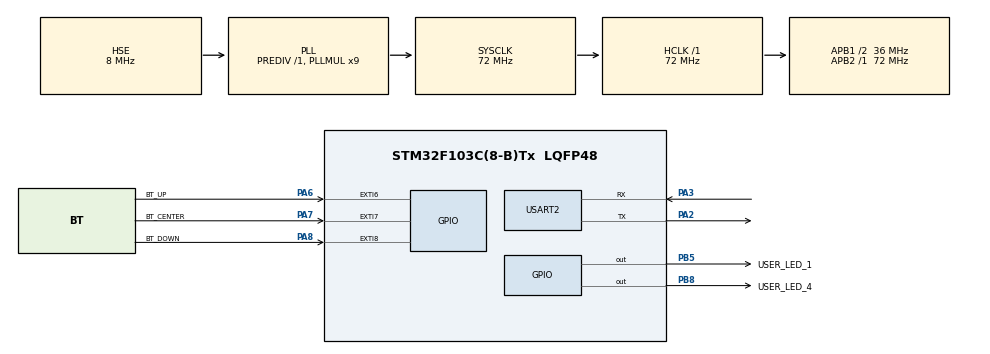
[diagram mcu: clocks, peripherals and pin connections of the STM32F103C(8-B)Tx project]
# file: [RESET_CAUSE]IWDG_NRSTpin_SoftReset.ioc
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Dma.Request0=USART2_RX
Dma.Request1=USART2_TX
Dma.USART2_RX.0.Direction=DMA_PERIPH_TO_MEMORY
Dma.USART2_RX.0.Instance=DMA1_Channel6
Dma.USART2_RX.0.MemDataAlignment=DMA_MDATAALIGN_BYTE
Dma.USART2_RX.0.MemInc=DMA_MINC_ENABLE
Dma.USART2_RX.0.Mode=DMA_CIRCULAR
Dma.USART2_RX.0.PeriphDataAlignment=DMA_PDATAALIGN_BYTE
Dma.USART2_RX.0.PeriphInc=DMA_PINC_DISABLE
Dma.USART2_RX.0.Priority=DMA_PRIORITY_VERY_HIGH
Dma.USART2_TX.1.Direction=DMA_MEMORY_TO_PERIPH
Dma.USART2_TX.1.Instance=DMA1_Channel7
Dma.USART2_TX.1.MemDataAlignment=DMA_MDATAALIGN_BYTE
Dma.USART2_TX.1.MemInc=DMA_MINC_ENABLE
Dma.USART2_TX.1.Mode=DMA_NORMAL
Dma.USART2_TX.1.PeriphDataAlignment=DMA_PDATAALIGN_BYTE
Dma.USART2_TX.1.PeriphInc=DMA_PINC_DISABLE
Dma.USART2_TX.1.Priority=DMA_PRIORITY_VERY_HIGH
Mcu.Family=STM32F1
Mcu.Name=STM32F103C(8-B)Tx
Mcu.Package=LQFP48
NVIC.DMA1_Channel6_IRQn=true\:1\:0\:true\:false\:true\:false\:true
NVIC.DMA1_Channel7_IRQn=true\:1\:0\:true\:false\:true\:false\:true
NVIC.EXTI9_5_IRQn=true\:2\:0\:true\:false\:true\:true\:true
NVIC.PriorityGroup=NVIC_PRIORITYGROUP_4
NVIC.RCC_IRQn=true\:0\:0\:false\:false\:true\:true\:false
NVIC.TIM4_IRQn=true\:0\:0\:false\:false\:true\:false\:true
NVIC.TimeBase=TIM4_IRQn
NVIC.TimeBaseIP=TIM4
NVIC.USART2_IRQn=true\:0\:0\:false\:false\:true\:true\:true
PA13.Mode=Serial_Wire
PA13.Signal=SYS_JTMS-SWDIO
PA14.Mode=Serial_Wire
PA14.Signal=SYS_JTCK-SWCLK
PA2.Mode=Asynchronous
PA2.Signal=USART2_TX
PA3.Mode=Asynchronous
PA3.Signal=USART2_RX
PA6.GPIO_Label=BT_UP
PA6.GPIO_ModeDefaultEXTI=GPIO_MODE_IT_FALLING
PA6.GPIO_PuPd=GPIO_PULLUP
PA6.Signal=GPXTI6
PA7.GPIO_Label=BT_CENTER
PA7.GPIO_ModeDefaultEXTI=GPIO_MODE_IT_FALLING
PA7.GPIO_PuPd=GPIO_PULLUP
PA7.Signal=GPXTI7
PA8.GPIO_Label=BT_DOWN
PA8.GPIO_ModeDefaultEXTI=GPIO_MODE_IT_FALLING
PA8.GPIO_PuPd=GPIO_PULLUP
PA8.Signal=GPXTI8
PB5.GPIO_Label=USER_LED_1
PB5.Signal=GPIO_Output
PB8.GPIO_Label=USER_LED_4
PB8.Signal=GPIO_Output
PD0-OSC_IN.Mode=HSE-External-Oscillator
PD0-OSC_IN.Signal=RCC_OSC_IN
PD1-OSC_OUT.Mode=HSE-External-Oscillator
PD1-OSC_OUT.Signal=RCC_OSC_OUT
ProjectManager.HeapSize=0x200
ProjectManager.StackSize=0x400
ProjectManager.TargetToolchain=STM32CubeIDE
RCC.AHBFreq_Value=72000000
RCC.APB1CLKDivider=RCC_HCLK_DIV2
RCC.APB1Freq_Value=36000000
RCC.APB1TimFreq_Value=72000000
RCC.APB2Freq_Value=72000000
RCC.APB2TimFreq_Value=72000000
RCC.HCLKFreq_Value=72000000
RCC.PLLMUL=RCC_PLL_MUL9
RCC.PLLSourceVirtual=RCC_PLLSOURCE_HSE
RCC.SYSCLKFreq_VALUE=72000000
RCC.SYSCLKSource=RCC_SYSCLKSOURCE_PLLCLK
RCC.USBFreq_Value=72000000
USART2.VirtualMode=VM_ASYNC
VP_CRC_VS_CRC.Mode=CRC_Activate
VP_IWDG_VS_IWDG.Mode=IWDG_Activate
VP_SYS_VS_tim4.Mode=TIM4
board=custom

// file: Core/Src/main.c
/* USER CODE BEGIN Header */
/**
 ******************************************************************************
 * @file           : main.c
 * @brief          : Main program body
 ******************************************************************************
 * @attention
 *
 * <h2><center>&copy; Copyright (c) 2020 STMicroelectronics.
 * All rights reserved.</center></h2>
 *
 * This software component is licensed by ST under BSD 3-Clause license,
 * the "License"; You may not use this file except in compliance with the
 * License. You may obtain a copy of the License at:
 *                        opensource.org/licenses/BSD-3-Clause
 *
 ******************************************************************************
 */
/* USER CODE END Header */
#include "main.h"
#include "crc.h"
#include "dma.h"
#include "iwdg.h"
#include "usart.h"
#include "gpio.h"

/* USER CODE BEGIN Includes */
#include "myDebug.h"
#include "myF103.h"
#include "myMisc.h"
#include "retarget.h"
/* USER CODE END Includes */

/* USER CODE BEGIN PM */
#define IWDG_TIMEOUT (3000u)
#define IWDG_REFRESH_TIME (2500u)
/* USER CODE END PM */

/* USER CODE BEGIN PV */
extern IWDG_HandleTypeDef hiwdg;
uint32_t prev_tick;
uint32_t temp_tick;
/* USER CODE END PV */

void SystemClock_Config(void);
/* USER CODE BEGIN PFP */
void HAL_GPIO_EXTI_Callback(uint16_t GPIO_Pin);
/* USER CODE END PFP */

int main(void)
{

  /* MCU Configuration--------------------------------------------------------*/

  /* Reset of all peripherals, Initializes the Flash interface and the Systick. */
  HAL_Init();

  /* Configure the system clock */
  SystemClock_Config();

  /* USER CODE BEGIN SysInit */
  MX_GPIO_Init();
  MX_DMA_Init();
  MX_USART2_UART_Init();

  /* Reset cause debug */
  RetargetInit(&DEBUG_USART);
  printf(resetCauseGetName(resetCauseGet()));
  newline;

  /* USER CODE END SysInit */

  /* Initialize all configured peripherals */
  MX_CRC_Init();

  /* USER CODE BEGIN 2 */
  /* Timeout = 5000ms */
  vIWDG_Init(IWDG_TIMEOUT);
  /* USER CODE END 2 */

  /* Infinite loop */
  /* USER CODE BEGIN WHILE */
  prev_tick = HAL_GetTick();
  while (1)
  {
    toggleAllLed;
    PRINT_VAR(HAL_GetTick());
    temp_tick = HAL_GetTick() - prev_tick;
    if(temp_tick > IWDG_REFRESH_TIME){
        prev_tick = HAL_GetTick();
        printf("\r\nIWDG Reset every %ld\r\n", temp_tick);
        HAL_IWDG_Refresh(&_hiwdg);
    }
    HAL_Delay(50);
    /* USER CODE END WHILE */
  }
}

void SystemClock_Config(void)
{
  RCC_OscInitTypeDef RCC_OscInitStruct = {0};
  RCC_ClkInitTypeDef RCC_ClkInitStruct = {0};

  /** Initializes the RCC Oscillators according to the specified parameters
  * in the RCC_OscInitTypeDef structure.
  */
  RCC_OscInitStruct.OscillatorType = RCC_OSCILLATORTYPE_LSI | RCC_OSCILLATORTYPE_HSE;
  RCC_OscInitStruct.HSEState = RCC_HSE_ON;
  RCC_OscInitStruct.HSEPredivValue = RCC_HSE_PREDIV_DIV1;
  RCC_OscInitStruct.HSIState = RCC_HSI_ON;
  RCC_OscInitStruct.LSIState = RCC_LSI_ON;
  RCC_OscInitStruct.PLL.PLLState = RCC_PLL_ON;
  RCC_OscInitStruct.PLL.PLLSource = RCC_PLLSOURCE_HSE;
  RCC_OscInitStruct.PLL.PLLMUL = RCC_PLL_MUL9;
  if (HAL_RCC_OscConfig(&RCC_OscInitStruct) != HAL_OK)
  {
    Error_Handler();
  }
  /** Initializes the CPU, AHB and APB buses clocks
  */
  RCC_ClkInitStruct.ClockType = RCC_CLOCKTYPE_HCLK | RCC_CLOCKTYPE_SYSCLK | RCC_CLOCKTYPE_PCLK1 | RCC_CLOCKTYPE_PCLK2;
  RCC_ClkInitStruct.SYSCLKSource = RCC_SYSCLKSOURCE_PLLCLK;
  RCC_ClkInitStruct.AHBCLKDivider = RCC_SYSCLK_DIV1;
  RCC_ClkInitStruct.APB1CLKDivider = RCC_HCLK_DIV2;
  RCC_ClkInitStruct.APB2CLKDivider = RCC_HCLK_DIV1;

  if (HAL_RCC_ClockConfig(&RCC_ClkInitStruct, FLASH_LATENCY_2) != HAL_OK)
  {
    Error_Handler();
  }
}

/* USER CODE BEGIN 4 */
void HAL_GPIO_EXTI_Callback(uint16_t GPIO_Pin)
{
  if (GPIO_Pin == BT_CENTER_Pin)
  {
    NVIC_SystemReset();
  }
}
/* USER CODE END 4 */

void HAL_TIM_PeriodElapsedCallback(TIM_HandleTypeDef *htim)
{
  if (htim->Instance == TIM4)
  {
    HAL_IncTick();
  }
}

void Error_Handler(void)
{
  /* USER CODE BEGIN Error_Handler_Debug */
  /* User can add his own implementation to report the HAL error return state */
  static uint32_t error_handler_count;
  while (error_handler_count < 5)
  {
    ++error_handler_count;
    PRINTF("ERROR_HANDLER\r\n");
  }
  /* USER CODE END Error_Handler_Debug */
}

/************************ (C) COPYRIGHT STMicroelectronics *****END OF FILE****/
